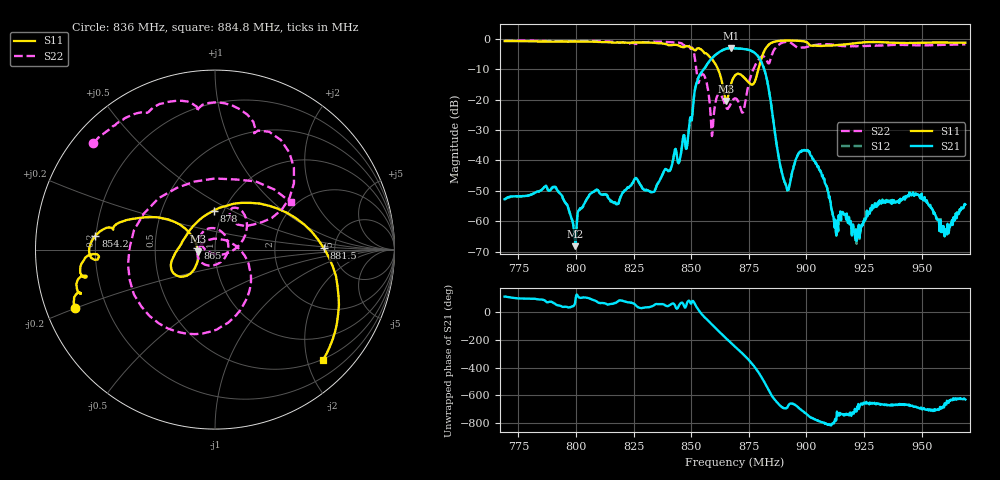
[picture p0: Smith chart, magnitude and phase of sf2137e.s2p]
# Hz S RI R 50
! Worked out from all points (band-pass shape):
!   801 points, 769 MHz to 969 MHz, reference 50 ohm
!   highest |S21| = -3.02 dB at 867.2 MHz (marker M1); lowest = -68.2 dB at 799.8 MHz (marker M2)
!   |S21| within 3 dB of the highest: 859.4 MHz to 879.3 MHz (19.88 MHz wide, 2.29 % of centre)
!   lowest |S11| = -20.4 dB at 865.2 MHz (marker M3), VSWR 1.21, Z = 41.3 - j0.891 ohm
!   |S11| at or under -10 dB: 861.7 MHz to 879.1 MHz (17.48 MHz wide, 2.01 % of centre)
!   |S22| runs from -32.0 to -0.6 dB; largest |S21 - S12| = 0.0043
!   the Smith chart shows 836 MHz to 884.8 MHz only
!   S11 on the Smith chart (normalised r, x): 836 MHz: 0.09, -0.20; 854.2 MHz: 0.20, +0.06; 865 MHz: 0.82, +0.01; 878 MHz: 0.90, +0.41; 881.5 MHz: 4.09, +0.10; 884.8 MHz: 0.48, -2.29
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7.69e8  -0.5703 -0.7238  -0.00085 0.00214  -0.00085 0.00213  -0.9262 -0.1141
7.9075e8  -0.6249 -0.6475  0.00173 0.00322  0.00181 0.00322  -0.9129 0.0382
7.9975e8  -0.6603 -0.6219  2.26e-05 0.000387  5.29e-05 0.000399  -0.9096 0.097
8.025e8  -0.6754 -0.605  -0.000383 0.00163  -0.000396 0.00161  -0.9148 0.1194
8.3575e8  -0.7816 -0.3298  0.00232 0.00367  0.00231 0.00364  -0.6846 0.5858
8.36e8  -0.7821 -0.3266  0.00235 0.00379  0.00238 0.00382  -0.6785 0.5952
8.4825e8  -0.7513 -0.115  0.00596 0.0169  0.00597 0.0169  0.0527 0.8153
8.5425e8  -0.6662 0.0783  0.2726 -0.0411  0.2726 -0.0414  0.0973 0.232
8.6025e8  -0.3564 0.181  -0.19 -0.5014  -0.1877 -0.5003  -0.0733 0.0257
8.65e8  -0.0977 0.00729  -0.6796 0.0855  -0.68 0.0863  0.0741 0.0175
8.6525e8  -0.095 -0.0107  -0.6786 0.1344  -0.6764 0.1354  0.0735 0.000712
8.6725e8  -0.1281 -0.1248  -0.5159 0.4822  -0.5159 0.4815  -0.00673 -0.087
8.69e8  -0.2009 -0.1493  -0.2415 0.6545  -0.2417 0.6567  -0.0851 -0.0619
8.745e8  -0.1984 0.0147  0.612 0.265  0.612 0.264  0.152 -0.0158
8.78e8  -0.00764 0.2168  0.3921 -0.4133  0.3923 -0.414  0.1195 -0.3635
8.815e8  0.6069 0.00758  -0.2469 -0.2229  -0.2457 -0.2228  -0.4517 -0.25
8.8475e8  0.6006 -0.6162  -0.0437 0.0675  -0.0438 0.0675  0.423 0.2629
8.915e8  0.0372 -0.9391  0.00304 0.00171  0.00303 0.00166  -0.0919 -0.8938
9.025e8  -0.3056 -0.7089  0.00794 -0.00778  0.00798 -0.00779  -0.4526 -0.6352
9.1275e8  -0.3078 -0.7243  0.000298 -0.000628  0.000297 -0.000624  -0.6406 -0.4612
9.3575e8  -0.5125 -0.704  0.00142 0.00164  0.00142 0.00166  -0.7066 -0.3383
9.69e8  -0.6045 -0.6194  2.89e-05 0.00189  6.8e-06 0.00189  -0.7885 -0.1969
